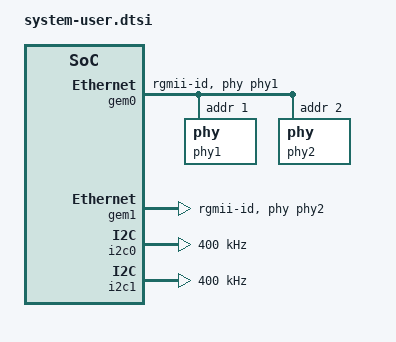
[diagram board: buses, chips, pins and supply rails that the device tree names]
//
// Copyright (C) 2023, Advanced Micro Devices, Inc. All rights reserved.
// SPDX-License-Identifier: X11
//

/include/ "system-conf.dtsi"
/ {
  reserved-memory {
    #address-cells = <2>;
    #size-cells = <2>;
    ranges;
    lpddr_memory: buffer@0 {
      no-map;
      reg = <0x500 0x0 0x2 0x0>;
    };
  };
};

&sdhci1{
  no-1-8-v;
  sdhci-caps-mask = <0x00 0x200000>;
  sdhci-caps = <0x00 0x00>;
  max-frequency = <0x121eac0>;
};

&gem0 { /* PMC_MIO_48, LPD_MIO0-11/24/25 */
	phy-handle = <&phy1>; /* u128 */
	phy-mode = "rgmii-id";
	phy1: phy@1 {
		reg = <1>;
		ti,rx-internal-delay = <0xb>;
		ti,tx-internal-delay = <0xa>;
		ti,fifo-depth = <1>;
		ti,dp83867-rxctrl-strap-quirk;
	};
	phy2: phy@2 {
		reg = <2>;
		ti,rx-internal-delay = <0xb>;
		ti,tx-internal-delay = <0xa>;
		ti,fifo-depth = <1>;
		ti,dp83867-rxctrl-strap-quirk;
	};
};

&gem1 { /* PMC_MIO_49, LPD_MIO12-23 */
	phy-handle = <&phy2>; /* u134 */
	phy-mode = "rgmii-id";
};

&i2c0 { /* PMC_MIO46/47 */
	clock-frequency = <400000>;
};

&i2c1 { /* PMC_MIO44/45 */
	clock-frequency = <400000>;
};

